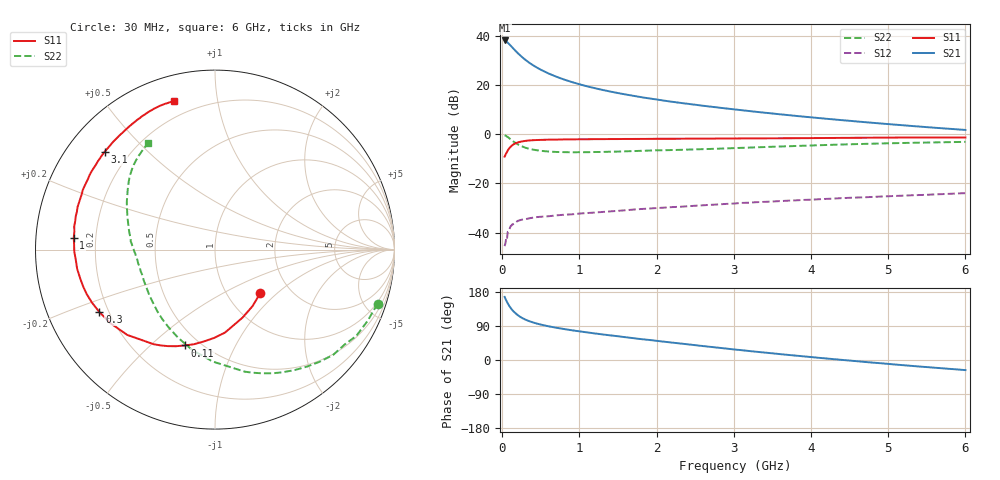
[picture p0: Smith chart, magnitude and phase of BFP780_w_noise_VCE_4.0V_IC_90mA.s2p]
! Infineon Technologies  Discrete & RF Semiconductors
! BFP780
! VCE =  4.0 V,  IC =  90 mA
! Common Emitter S-Parameters:  Jul 2015
# GHz  S  MA  R  50
!  f  S11  S21  S12  S22
! GHz  MAG  ANG  MAG  ANG  MAG  ANG  MAG  ANG
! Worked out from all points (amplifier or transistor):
!   75 points, 30 MHz to 6 GHz, reference 50 ohm
!   highest |S21| = 38.1 dB at 30 MHz (marker M1)
!   |S21| within 3 dB of that: start of sweep to 134.4 MHz
!   unconditionally stable (mu >= 1): 1.723 GHz to end of sweep
!   at 150 MHz: K = 0.16, MSG = 35.5 dB, |S12| = -36.4 dB
!   at 2.3 GHz: K = 1.13, MAG = 18.9 dB, |S12| = -29.5 dB
!   at 6 GHz: K = 1.21, MAG = 10.1 dB, |S12| = -24.0 dB
!   lowest NFmin = 1.94 dB at 450 MHz
!   S11 on the Smith chart (normalised r, x): 30 MHz: 1.42, -0.79; 110 MHz: 0.42, -0.65; 300 MHz: 0.16, -0.25; 1 GHz: 0.12, +0.04; 3.1 GHz: 0.11, +0.37; 6 GHz: 0.12, +0.75
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0.03  0.3502 -44.1  80.59 166.5  0.0053 78.4  0.9547 -18.4
0.05  0.4087 -67.9  77.15 157.6  0.0076 45.3  0.9227 -31.4
0.07  0.466 -83.2  72.7 149.9  0.0103 69.6  0.8819 -41.7
0.09  0.5156 -96.9  67.73 142.9  0.0113 55.9  0.8294 -51.8
0.11  0.5596 -107.4  62.75 136.9  0.0137 48.7  0.7815 -60.9
0.13  0.5983 -116.0  58.08 131.7  0.0147 46.6  0.739 -68.9
0.15  0.6284 -123.0  53.73 127.3  0.0151 43.8  0.7006 -76.2
0.2  0.682 -135.8  44.59 118.3  0.0173 37.5  0.6234 -91.3
0.25  0.7127 -144.9  37.77 111.6  0.0183 33.7  0.5717 -103.2
0.3  0.7322 -151.6  32.44 106.5  0.0188 31.2  0.5315 -112.9
0.4  0.7566 -160.9  25.15 99.0  0.0202 27.8  0.4858 -127.3
0.5  0.767 -167.3  20.44 93.4  0.021 26.4  0.4592 -137.5
0.6  0.7755 -172.0  17.16 88.9  0.0215 26.4  0.4454 -145.3
0.8  0.7841 -179.2  12.95 81.7  0.0231 26.3  0.4327 -156.3
1  0.7899 175.2  10.37 75.6  0.0244 27.2  0.4313 -164.0
1.1  0.7899 172.8  9.403 72.8  0.025 27.5  0.4308 -167.3
1.5  0.7978 164.7  6.863 62.6  0.0277 29.2  0.4439 -176.7
2.1  0.8084 154.2  4.811 48.2  0.0322 29.8  0.4728 173.4
3.1  0.8213 138.5  3.078 25.9  0.0401 28.9  0.5283 157.7
4.1  0.8364 124.6  2.133 5.8  0.0476 25.5  0.5972 144.3
5.1  0.8555 113.4  1.562 -12.1  0.0557 20.4  0.6588 132.6
6  0.8584 105.4  1.222 -26.7  0.0633 14.8  0.6994 122.2
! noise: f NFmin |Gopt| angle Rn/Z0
0.45  1.94  0.53  -179  0.08
0.9  1.99  0.54  -166  0.09
1.5  2.05  0.55  -159  0.1
1.8  2.22  0.56  -153  0.12
2.4  2.35  0.59  -144  0.18
3  2.63  0.6  -134  0.25
3.5  3.11  0.63  -123  0.4
